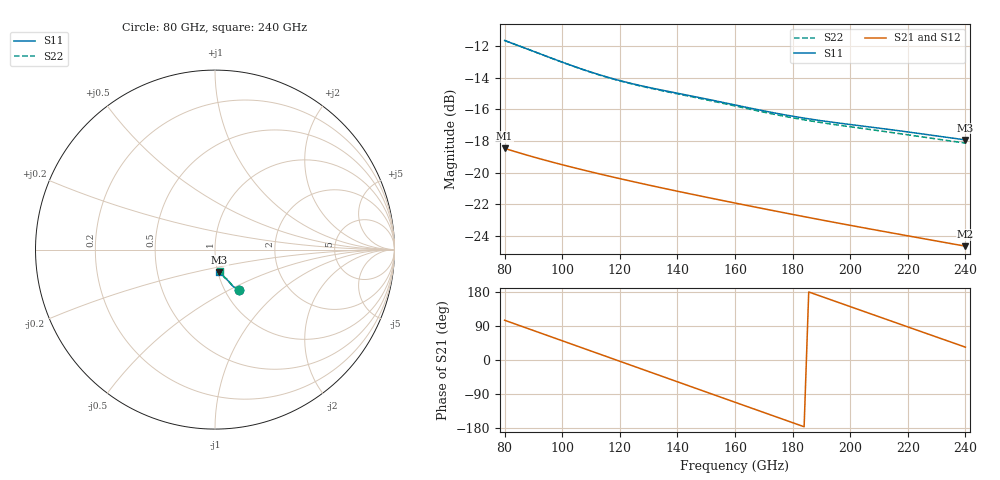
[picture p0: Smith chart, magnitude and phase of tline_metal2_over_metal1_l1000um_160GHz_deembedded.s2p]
! Created with skrf 2.2.0 (http://scikit-rf.org).
# GHz S DB R 50.0
! Port[1] = P1
! Port[2] = P2
!freq dBS11 angS11 dBS21 angS21 dBS12 angS12 dBS22 angS22
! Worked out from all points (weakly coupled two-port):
!   101 points, 80 GHz to 240 GHz, reference 50 ohm
!   highest |S21| = -18.47 dB at 80 GHz (marker M1); lowest = -24.7 dB at 240 GHz (marker M2)
!   lowest |S11| = -17.9 dB at 240 GHz (marker M3), VSWR 1.29, Z = 50.9 - j12.9 ohm
!   |S11| at or under -10 dB: start of sweep to end of sweep
!   |S22| runs from -18.1 to -11.6 dB; largest |S21 - S12| = 1.3e-13
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80  -11.64 -59.5  -18.47 105.0  -18.47 105.0  -11.63 -59.1
86.4  -12.07 -61.2  -18.82 87.6  -18.82 87.6  -12.07 -60.8
92.8  -12.51 -62.8  -19.16 70.3  -19.16 70.3  -12.52 -62.3
100.8  -13.06 -64.4  -19.54 48.6  -19.54 48.6  -13.06 -63.9
107.2  -13.47 -65.3  -19.84 31.3  -19.84 31.3  -13.48 -64.8
113.6  -13.84 -66.0  -20.12 14.0  -20.12 14.0  -13.86 -65.5
120  -14.17 -66.6  -20.39 -3.3  -20.39 -3.3  -14.19 -66.1
126.4  -14.46 -67.1  -20.65 -20.7  -20.65 -20.7  -14.48 -66.6
134.4  -14.77 -67.9  -20.97 -42.3  -20.97 -42.3  -14.81 -67.4
140.8  -15.01 -68.7  -21.21 -59.6  -21.21 -59.6  -15.05 -68.2
147.2  -15.24 -69.6  -21.46 -76.9  -21.46 -76.9  -15.29 -69.1
153.6  -15.47 -70.5  -21.70 -94.2  -21.70 -94.2  -15.53 -70.0
160  -15.72 -71.3  -21.93 -111.5  -21.93 -111.5  -15.78 -70.8
168  -16.02 -72.2  -22.22 -133.1  -22.22 -133.1  -16.10 -71.7
174.4  -16.25 -72.7  -22.45 -150.3  -22.45 -150.3  -16.34 -72.2
180.8  -16.46 -73.2  -22.68 -167.5  -22.68 -167.5  -16.56 -72.7
187.2  -16.64 -73.6  -22.91 175.3  -22.91 175.3  -16.76 -73.1
193.6  -16.81 -74.1  -23.13 158.1  -23.13 158.1  -16.94 -73.6
201.6  -17.00 -74.9  -23.40 136.6  -23.40 136.6  -17.14 -74.3
214.4  -17.29 -76.2  -23.83 102.3  -23.83 102.3  -17.47 -75.5
225.6  -17.57 -77.4  -24.19 72.4  -24.19 72.4  -17.76 -76.6
240  -17.93 -78.7  -24.67 33.9  -24.67 33.9  -18.13 -77.8
